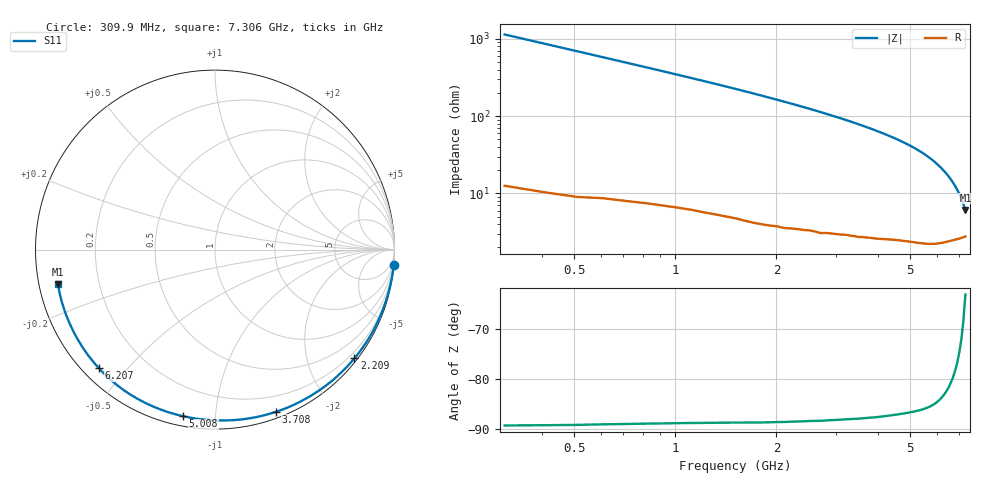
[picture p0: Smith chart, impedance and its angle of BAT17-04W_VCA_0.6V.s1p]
! Infineon Technologies  Discrete & RF Semiconductors
! BAT17-04W
! VCA = 0.6 V
! One-Port S-Parameters
# Hz  S  MA  R  50
!f  S11
!Hz  Mag  Ang
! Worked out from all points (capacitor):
!   71 points, 309.9 MHz to 7.306 GHz, reference 50 ohm
!   read as one part to ground: C = 452 fF near 309.9 MHz
!   lowest |Z| = 6.12 ohm at 7.306 GHz (marker M1)
!   S11 on the Smith chart (normalised r, x): 309.9 MHz: 0, -23; 2.209 GHz: 0.07, -2.91; 3.708 GHz: 0.05, -1.44; 5.008 GHz: 0.05, -0.83; 6.207 GHz: 0.05, -0.42; 7.306 GHz: 0.06, -0.11
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3.0985e8  0.999 -5.0
7.0965e8  0.9968 -11.6
9.0955e8  0.9953 -14.8
1.2094e9  0.9932 -19.9
1.50925e9  0.9911 -25.0
1.70915e9  0.9899 -28.6
2.10895e9  0.9864 -36.0
2.2089e9  0.9852 -37.9
2.6087e9  0.9807 -45.8
3.0085e9  0.9756 -54.1
3.4083e9  0.97 -62.7
3.70815e9  0.9656 -69.4
3.8081e9  0.9641 -71.7
4.008e9  0.9611 -76.3
4.30785e9  0.9559 -83.4
4.50775e9  0.9525 -88.2
4.70765e9  0.9494 -93.2
5.0075e9  0.9451 -100.8
5.30735e9  0.9412 -108.7
5.6072e9  0.937 -117.0
5.70715e9  0.9355 -119.8
5.90705e9  0.9318 -125.6
6.2069e9  0.9249 -134.4
6.50675e9  0.9171 -143.4
6.70665e9  0.9118 -149.4
6.90655e9  0.9067 -155.4
7.10645e9  0.9019 -161.4
7.30635e9  0.8958 -167.5
